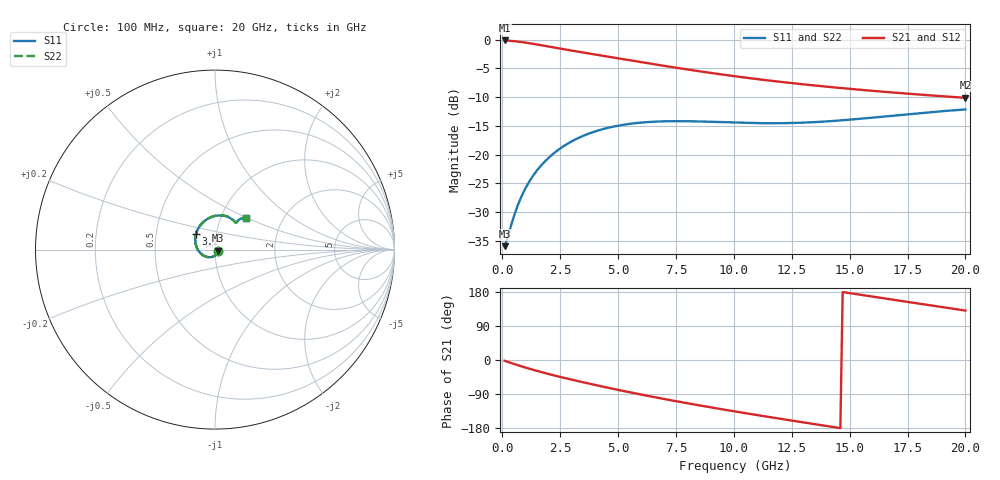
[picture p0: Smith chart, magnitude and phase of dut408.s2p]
! Touchstone file exported from HFSS 2024.1.0
!  File:  C:/UserFiles/LocalFiles/RDL_TSV_Batchsim/temp_RDL_TSV_408_1779713666.aedt
!  Generated:  09:12:29 PM May 25, 2026
!  Design:  RDL_TSV
!  Project:  temp_RDL_TSV_408_1779713666
!  Setup:  Setup1
!  Solution:  Sweep
! Variables:
!  dtsv = 13.5um
!  hbump = 3um
!  htsv = 83.25um
!  ldown = 669.03um
!  lrdl = 308.3um
!  p = 40
!  p1 = 46.08um
!  rhole = 10um
!  subl = 3240.29um
!  t = 450um
!  tdown = 2.27um
!  trdl = 4.59um
!  viad = 10um
!  wdown = 28.76um
!  wrdl = 24.2um
!  xbump = 18um
# GHz S MA R 50.000000
! Terminal data exported
! Port[1] = TM1_1_T1
! Port[2] = TM1_4_T1
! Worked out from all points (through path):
!   200 points, 100 MHz to 20 GHz, reference 50 ohm
!   highest |S21| = -0.14 dB at 100 MHz (marker M1); lowest = -10.1 dB at 20 GHz (marker M2)
!   group delay of S21, straight-line fit = 30.2 ps
!   lowest |S11| = -35.9 dB at 100 MHz (marker M3), VSWR 1.03, Z = 51.5 - j0.556 ohm
!   |S11| at or under -10 dB: start of sweep to end of sweep
!   |S22| runs from -35.9 to -12.2 dB; largest |S21 - S12| = 2.2e-14
!   S11 on the Smith chart (normalised r, x): 100 MHz: 1.03, -0.01; 3.2 GHz: 0.80, +0.14; 20 GHz: 1.31, +0.50
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0.1  0.01601 -19.7  0.9839 -2.1  0.9839 -2.1  0.01601 -19.7
! Gamma 0 0 0 0
! Port Impedance 50 0 50 0
0.5  0.02904 -80.5  0.9706 -10.3  0.9706 -10.3  0.02903 -80.5
0.7  0.0376 -100.2  0.9606 -14.3  0.9606 -14.3  0.03758 -100.3
1  0.05092 -123.6  0.9425 -19.9  0.9425 -19.9  0.05092 -123.6
1.3  0.06424 -142.6  0.9219 -25.3  0.9219 -25.3  0.06427 -142.7
1.7  0.0815 -163.9  0.8928 -32.1  0.8928 -32.1  0.08159 -164.0
2.1  0.09788 178.2  0.8638 -38.5  0.8638 -38.5  0.09807 178.0
2.6  0.1168 159.2  0.8292 -46.1  0.8292 -46.1  0.1172 159.1
3.2  0.137 140.4  0.7905 -54.7  0.7905 -54.7  0.1375 140.3
3.5  0.1459 132.3  0.7722 -58.9  0.7722 -58.9  0.1465 132.1
4.2  0.1636 115.9  0.7316 -68.4  0.7316 -68.4  0.1644 115.8
5  0.1786 100.7  0.6881 -78.8  0.6881 -78.8  0.1796 100.6
5.9  0.1892 87.1  0.6423 -90.0  0.6423 -90.0  0.1904 86.9
6.8  0.1944 76.4  0.6002 -100.7  0.6002 -100.7  0.1957 76.2
8.4  0.1946 63.2  0.535 -118.6  0.535 -118.6  0.1961 62.9
10.1  0.1899 55.6  0.4789 -136.3  0.4789 -136.3  0.1914 55.2
11.7  0.1876 52.7  0.4368 -152.1  0.4368 -152.1  0.1889 52.2
13.4  0.1914 52.1  0.401 -168.5  0.401 -168.5  0.1923 51.6
15  0.2014 52.0  0.3735 176.5  0.3735 176.5  0.2019 51.4
16.7  0.2166 51.0  0.3492 160.7  0.3492 160.7  0.2167 50.5
18.4  0.2332 48.8  0.3286 145.1  0.3286 145.1  0.2329 48.4
20  0.2473 46.0  0.312 130.5  0.312 130.5  0.2468 45.6
